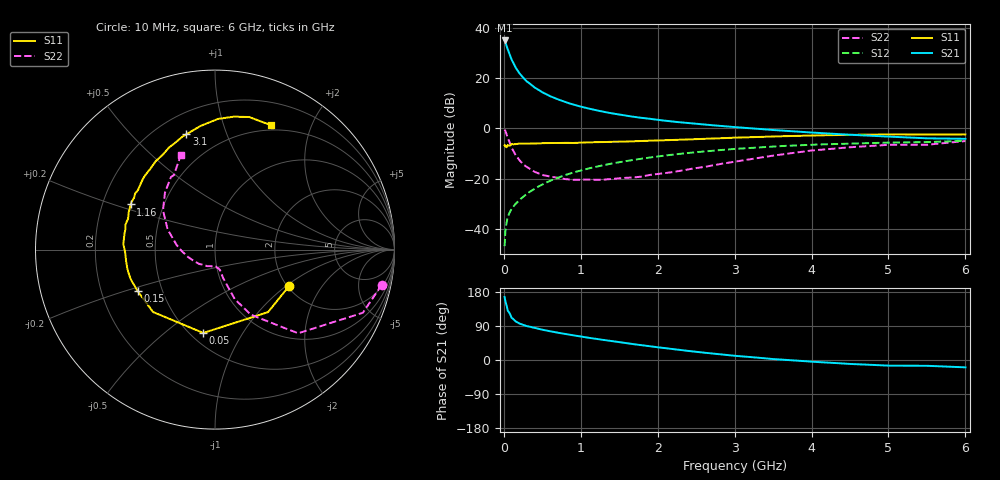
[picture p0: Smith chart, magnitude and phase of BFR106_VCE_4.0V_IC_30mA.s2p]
! Infineon Technologies  Discrete & RF Semiconductors
! BFR106
! VCE =  4.0 V,  IC =  30 mA
! Common Emitter S-Parameters:  Nov 2015
# GHz  S  MA  R  50
!  f  S11  S21  S12  S22
! GHz  MAG  ANG  MAG  ANG  MAG  ANG  MAG  ANG
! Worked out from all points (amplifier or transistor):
!   210 points, 10 MHz to 6 GHz, reference 50 ohm
!   highest |S21| = 35.1 dB at 10 MHz (marker M1)
!   |S21| within 3 dB of that: start of sweep to 44.34 MHz
!   unconditionally stable (mu >= 1): 316.2 MHz to 2.249 GHz
!   at 185 MHz: K = 0.85, MSG = 26.0 dB, |S12| = -29.1 dB
!   at 1.52 GHz: K = 1.06, MAG = 8.0 dB, |S12| = -13.3 dB
!   at 6 GHz: K = 0.99, MSG = 0.4 dB, |S12| = -4.9 dB
!   S11 on the Smith chart (normalised r, x): 10 MHz: 2.06, -1.05; 50 MHz: 0.58, -0.69; 150 MHz: 0.36, -0.22; 1.16 GHz: 0.32, +0.23; 3.1 GHz: 0.32, +0.73; 6 GHz: 0.44, +1.46
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0.01  0.4609 -25.8  56.91 166.2  0.0045 81.7  0.9494 -11.9
0.02  0.4567 -49.7  52.71 154.9  0.009 72.9  0.8962 -23.1
0.05  0.469 -98.0  38.23 130.4  0.0173 60.0  0.6572 -45.2
0.1  0.4899 -134.8  23.74 111.6  0.0247 56.8  0.4134 -61.2
0.15  0.4891 -151.9  16.61 102.0  0.031 58.3  0.2976 -68.2
0.2  0.4977 -160.6  12.78 96.5  0.037 61.7  0.2356 -70.2
0.24  0.4991 -165.6  10.79 93.3  0.042 63.3  0.2012 -71.8
0.26  0.4997 -167.8  9.969 91.8  0.0445 64.0  0.1881 -72.6
0.3  0.4995 -171.4  8.644 89.4  0.0499 65.5  0.1702 -73.8
0.4  0.5014 -178.6  6.558 84.4  0.0627 67.7  0.1368 -75.3
0.5  0.5115 176.7  5.268 79.9  0.0765 68.7  0.1183 -76.2
0.6  0.5119 171.4  4.417 75.8  0.0902 68.8  0.1101 -78.2
0.7  0.5122 167.4  3.82 72.0  0.1039 68.7  0.1041 -81.9
0.8  0.5182 164.5  3.353 68.6  0.1181 67.8  0.0979 -85.2
1.02  0.5244 156.2  2.677 61.4  0.1481 66.0  0.0958 -92.7
1.16  0.5327 151.8  2.387 56.9  0.1672 64.4  0.0952 -99.8
1.6  0.5501 139.5  1.789 44.1  0.2255 58.9  0.1042 -121.8
2.02  0.5777 128.3  1.474 33.1  0.2792 52.9  0.125 -144.6
3.1  0.6619 104.0  1.038 9.6  0.3998 36.5  0.2292 168.8
4.1  0.7314 87.3  0.813 -5.5  0.4803 21.4  0.3741 140.2
5.1  0.7613 74.4  0.679 -15.0  0.5251 8.4  0.4729 120.8
6  0.7608 65.7  0.622 -19.4  0.5684 -1.5  0.5612 109.8
